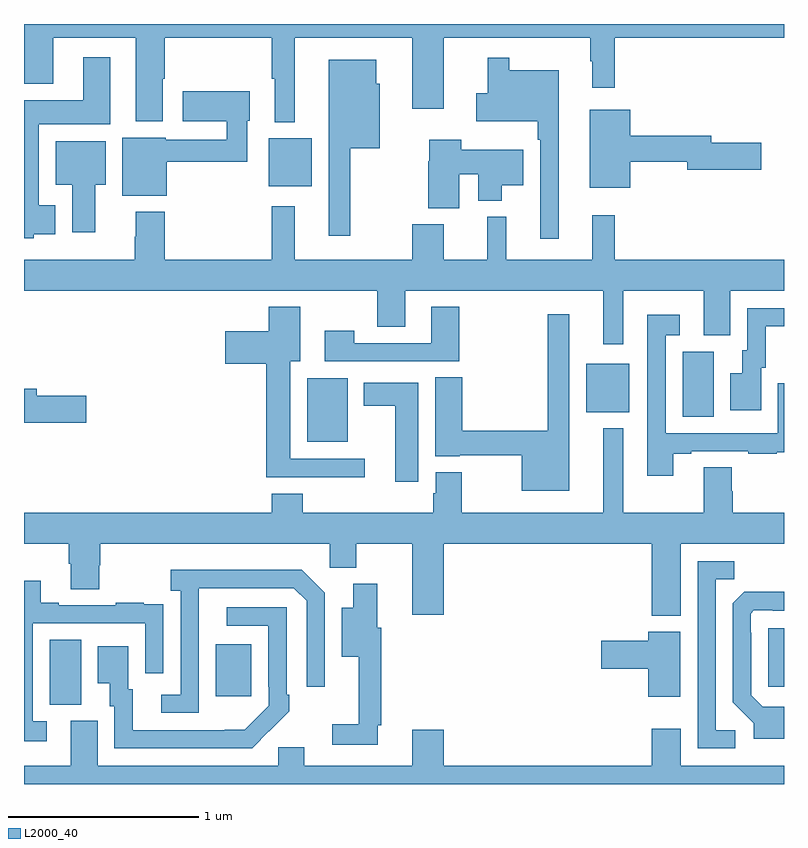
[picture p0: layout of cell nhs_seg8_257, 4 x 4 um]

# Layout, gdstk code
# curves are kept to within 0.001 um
import gdstk
lib = gdstk.Library(unit=1e-6, precision=1e-09)
def R(c, l, rs):  # rectangles x0, y0, x1, y1
    for r in rs: c.add(gdstk.rectangle(r[:2], r[2:], *l))
def P(c, l, *ps):  # polygons
    for p in ps: c.add(gdstk.Polygon(p, *l))
L2000_40 = (2000, 40)

nhs_seg8_257 = lib.new_cell('nhs_seg8_257')
R(nhs_seg8_257, L2000_40, [(127.136,1118.317,127.3,1118.66), (128.009,1118.361,128.197,1118.635), (130.917,1118.412,131,1118.721), (128.492,1119.701,128.704,1120.036), (130.466,1119.832,130.63,1120.176), (129.959,1119.857,130.186,1120.111), (128.288,1121.045,128.515,1121.299)])
P(nhs_seg8_257, L2000_40, [(127,1121.828),(127.001,1121.828),(127.001,1121.585),(127.153,1121.585),(127.153,1121.828),(127.589,1121.828),(127.589,1121.387),(127.729,1121.387),(127.729,1121.613),(127.742,1121.613),(127.742,1121.828),(128.304,1121.828),(128.304,1121.612),(128.321,1121.612),(128.321,1121.384),(128.425,1121.384),(128.425,1121.828),(129.044,1121.828),(129.044,1121.454),(129.208,1121.454),(129.208,1121.828),(129.981,1121.828),(129.981,1121.705),(129.992,1121.705),(129.992,1121.565),(130.109,1121.565),(130.109,1121.828),(131,1121.828),(131,1121.9),(127,1121.9)],
  [(127.05,1120.793),(127.165,1120.793),(127.165,1120.945),(127.078,1120.945),(127.078,1121.372),(127.453,1121.372),(127.453,1121.725),(127.313,1121.725),(127.313,1121.5),(127,1121.5),(127,1120.772),(127.05,1120.772)],
  [(129.814,1121.656),(129.553,1121.656),(129.553,1121.722),(129.442,1121.722),(129.442,1121.535),(129.38,1121.535),(129.38,1121.387),(129.705,1121.387),(129.705,1121.291),(129.717,1121.291),(129.717,1120.77),(129.814,1120.77)],
  [(128.717,1121.246),(128.872,1121.246),(128.872,1121.586),(128.854,1121.586),(128.854,1121.713),(128.603,1121.713),(128.603,1120.785),(128.717,1120.785)],
  [(127.75,1121.176),(128.175,1121.176),(128.175,1121.391),(128.188,1121.391),(128.188,1121.545),(127.836,1121.545),(127.836,1121.387),(128.067,1121.387),(128.067,1121.292),(127.746,1121.292),(127.746,1121.302),(127.517,1121.302),(127.517,1120.997),(127.75,1120.997)],
  [(130.192,1121.176),(130.49,1121.176),(130.49,1121.134),(130.879,1121.134),(130.879,1121.276),(130.618,1121.276),(130.618,1121.312),(130.192,1121.312),(130.192,1121.449),(129.977,1121.449),(129.977,1121.039),(130.192,1121.039)],
  [(129.292,1121.11),(129.392,1121.11),(129.392,1120.97),(129.514,1120.97),(129.514,1121.051),(129.628,1121.051),(129.628,1121.239),(129.3,1121.239),(129.3,1121.29),(129.134,1121.29),(129.134,1121.177),(129.127,1121.177),(129.127,1120.931),(129.292,1120.931)],
  [(127.375,1121.054),(127.429,1121.054),(127.429,1121.284),(127.166,1121.284),(127.166,1121.054),(127.253,1121.054),(127.253,1120.803),(127.375,1120.803)],
  [(130.109,1120.894),(129.992,1120.894),(129.992,1120.66),(129.539,1120.66),(129.539,1120.885),(129.439,1120.885),(129.439,1120.66),(129.208,1120.66),(129.208,1120.846),(129.044,1120.846),(129.044,1120.66),(128.425,1120.66),(128.425,1120.942),(128.304,1120.942),(128.304,1120.66),(127.742,1120.66),(127.742,1120.912),(127.589,1120.912),(127.589,1120.781),(127.582,1120.781),(127.582,1120.66),(127,1120.66),(127,1120.496),(128.86,1120.496),(128.86,1120.306),(129.007,1120.306),(129.007,1120.496),(130.049,1120.496),(130.049,1120.215),(130.153,1120.215),(130.153,1120.496),(130.577,1120.496),(130.577,1120.261),(130.717,1120.261),(130.717,1120.496),(131,1120.496),(131,1120.66),(130.109,1120.66)],
  [(128.794,1119.612),(128.401,1119.612),(128.401,1120.124),(128.455,1120.124),(128.455,1120.411),(128.288,1120.411),(128.288,1120.282),(128.058,1120.282),(128.058,1120.112),(128.276,1120.112),(128.276,1119.515),(128.794,1119.515)],
  [(129.291,1120.411),(129.143,1120.411),(129.143,1120.221),(128.739,1120.221),(128.739,1120.285),(128.583,1120.285),(128.583,1120.125),(129.291,1120.125)],
  [(130.879,1120.092),(130.903,1120.092),(130.903,1120.308),(131,1120.308),(131,1120.404),(130.806,1120.404),(130.806,1120.182),(130.781,1120.182),(130.781,1120.063),(130.718,1120.063),(130.718,1119.867),(130.879,1119.867)],
  [(129.871,1120.372),(129.757,1120.372),(129.757,1119.758),(129.306,1119.758),(129.306,1120.04),(129.164,1120.04),(129.164,1119.626),(129.294,1119.626),(129.294,1119.63),(129.62,1119.63),(129.62,1119.443),(129.871,1119.443)],
  [(130.417,1119.639),(130.513,1119.639),(130.513,1119.651),(130.813,1119.651),(130.813,1119.639),(130.961,1119.639),(130.961,1119.645),(131,1119.645),(131,1120.009),(130.968,1120.009),(130.968,1119.747),(130.377,1119.747),(130.377,1120.263),(130.45,1120.263),(130.45,1120.369),(130.281,1120.369),(130.281,1119.522),(130.417,1119.522)],
  [(129.076,1120.012),(128.789,1120.012),(128.789,1119.89),(128.954,1119.89),(128.954,1119.492),(129.076,1119.492)],
  [(127.327,1119.944),(127.066,1119.944),(127.066,1119.98),(127,1119.98),(127,1119.802),(127.327,1119.802)],
  [(130.456,1119.164),(131,1119.164),(131,1119.328),(130.73,1119.328),(130.73,1119.441),(130.725,1119.441),(130.725,1119.566),(130.577,1119.566),(130.577,1119.328),(130.153,1119.328),(130.153,1119.772),(130.049,1119.772),(130.049,1119.328),(129.303,1119.328),(129.303,1119.541),(129.167,1119.541),(129.167,1119.429),(129.155,1119.429),(129.155,1119.328),(128.468,1119.328),(128.468,1119.427),(128.303,1119.427),(128.303,1119.328),(127,1119.328),(127,1119.164),(127.235,1119.164),(127.235,1119.058),(127.247,1119.058),(127.247,1118.926),(127.395,1118.926),(127.395,1119.051),(127.4,1119.051),(127.4,1119.164),(128.61,1119.164),(128.61,1119.038),(128.749,1119.038),(128.749,1119.164),(129.044,1119.164),(129.044,1118.79),(129.208,1118.79),(129.208,1119.164),(130.304,1119.164),(130.304,1118.786),(130.456,1118.786)],
  [(130.744,1118.184),(130.641,1118.184),(130.641,1118.977),(130.737,1118.977),(130.737,1119.072),(130.545,1119.072),(130.545,1118.088),(130.744,1118.088)],
  [(127.92,1118.731),(127.921,1118.931),(128.421,1118.931),(128.487,1118.865),(128.487,1118.412),(128.583,1118.412),(128.583,1118.907),(128.462,1119.028),(127.773,1119.028),(127.773,1118.918),(127.824,1118.918),(127.824,1118.37),(127.722,1118.37),(127.722,1118.274),(127.92,1118.274)],
  [(127.12,1118.229),(127.047,1118.229),(127.047,1118.745),(127.638,1118.745),(127.638,1118.484),(127.734,1118.484),(127.734,1118.738),(127.733,1118.738),(127.733,1118.847),(127.631,1118.847),(127.631,1118.854),(127.483,1118.854),(127.483,1118.841),(127.183,1118.841),(127.183,1118.854),(127.087,1118.854),(127.087,1118.971),(127,1118.971),(127,1118.124),(127.12,1118.124)],
  [(128.861,1118.209),(128.879,1118.209),(128.879,1118.723),(128.86,1118.723),(128.86,1118.953),(128.732,1118.953),(128.732,1118.827),(128.672,1118.827),(128.672,1118.57),(128.762,1118.57),(128.762,1118.215),(128.622,1118.215),(128.622,1118.106),(128.861,1118.106)],
  [(131,1118.307),(130.887,1118.307),(130.827,1118.367),(130.827,1118.696),(130.824,1118.696),(130.824,1118.796),(130.842,1118.814),(130.942,1118.814),(130.942,1118.811),(131,1118.811),(131,1118.912),(130.79,1118.911),(130.731,1118.852),(130.731,1118.33),(130.841,1118.22),(130.841,1118.138),(131,1118.138)],
  [(128.291,1118.179),(128.292,1118.178),(128.397,1118.283),(128.397,1118.371),(128.382,1118.371),(128.382,1118.829),(128.067,1118.829),(128.067,1118.733),(128.286,1118.733),(128.286,1118.413),(128.289,1118.413),(128.289,1118.313),(128.161,1118.185),(127.573,1118.184),(127.573,1118.4),(127.549,1118.4),(127.549,1118.626),(127.388,1118.626),(127.388,1118.429),(127.451,1118.429),(127.451,1118.31),(127.476,1118.31),(127.476,1118.088),(128.2,1118.088)],
  [(130.453,1118.701),(130.286,1118.701),(130.286,1118.654),(130.038,1118.654),(130.038,1118.507),(130.286,1118.507),(130.286,1118.358),(130.453,1118.358)],
  [(131,1117.996),(130.456,1117.996),(130.456,1118.191),(130.304,1118.191),(130.304,1117.996),(129.208,1117.996),(129.208,1118.185),(129.044,1118.185),(129.044,1117.996),(128.476,1117.996),(128.476,1118.094),(128.337,1118.094),(128.337,1117.996),(127.387,1117.996),(127.387,1118.232),(127.247,1118.232),(127.247,1117.996),(127,1117.996),(127,1117.9),(131,1117.9)])

lib.write_gds('nhs_seg8_257.gds')
